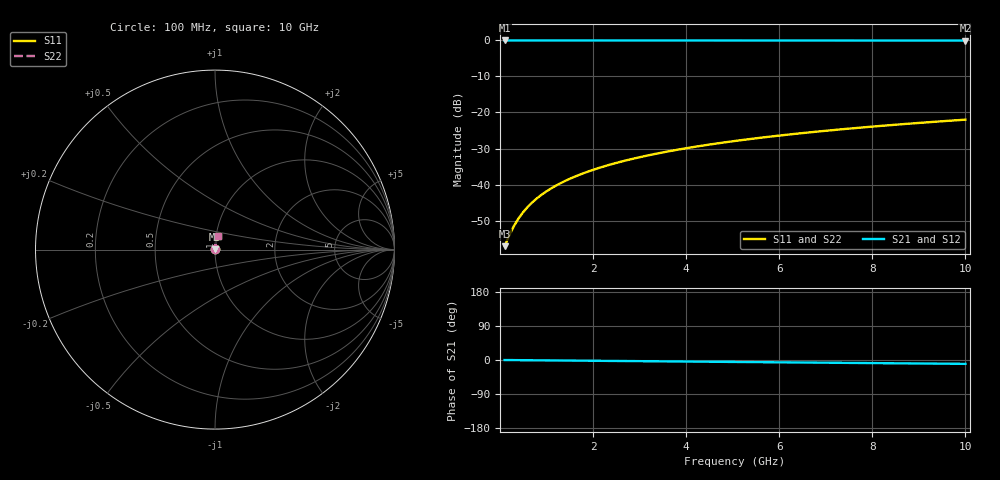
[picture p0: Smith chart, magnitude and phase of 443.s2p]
# Hz S RI R 50.00
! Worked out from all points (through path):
!   100 points, 100 MHz to 10 GHz, reference 50 ohm
!   highest |S21| = -0.01 dB at 100 MHz (marker M1); lowest = 0.0 dB at 10 GHz (marker M2)
!   group delay of S21, straight-line fit = 2.83 ps
!   lowest |S11| = -57.1 dB at 100 MHz (marker M3), VSWR 1.00, Z = 50.1 + j0.0797 ohm
!   |S11| at or under -10 dB: start of sweep to end of sweep
!   |S22| runs from -57.1 to -22.0 dB; largest |S21 - S12| = 0
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1e8  0.00115 0.000795  0.9988 -0.00177  0.9988 -0.00177  0.00115 0.000795
2e8  0.00116 0.00159  0.9988 -0.00354  0.9988 -0.00354  0.00116 0.00159
3e8  0.00117 0.00239  0.9988 -0.00532  0.9988 -0.00532  0.00117 0.00239
4e8  0.00119 0.00318  0.9988 -0.00709  0.9988 -0.00709  0.00119 0.00318
5e8  0.0012 0.00398  0.9988 -0.00886  0.9988 -0.00886  0.0012 0.00398
6e8  0.00122 0.00477  0.9988 -0.0106  0.9988 -0.0106  0.00122 0.00477
7e8  0.00124 0.00557  0.9987 -0.0124  0.9987 -0.0124  0.00124 0.00557
9e8  0.00129 0.00716  0.9987 -0.0159  0.9987 -0.0159  0.00129 0.00716
1e9  0.00132 0.00795  0.9986 -0.0177  0.9986 -0.0177  0.00132 0.00795
1.2e9  0.00139 0.00954  0.9985 -0.0213  0.9985 -0.0213  0.00139 0.00954
1.5e9  0.00151 0.0119  0.9984 -0.0266  0.9984 -0.0266  0.00151 0.0119
1.8e9  0.00165 0.0143  0.9982 -0.0319  0.9982 -0.0319  0.00165 0.0143
2.1e9  0.00182 0.0167  0.998 -0.0372  0.998 -0.0372  0.00182 0.0167
2.5e9  0.00208 0.0199  0.9976 -0.0443  0.9976 -0.0443  0.00208 0.0199
2.9e9  0.00239 0.023  0.9972 -0.0514  0.9972 -0.0514  0.00239 0.023
3.4e9  0.00284 0.027  0.9966 -0.0602  0.9966 -0.0602  0.00284 0.027
4.2e9  0.00371 0.0333  0.9954 -0.0744  0.9954 -0.0744  0.00371 0.0333
5.1e9  0.00489 0.0404  0.9938 -0.0903  0.9938 -0.0903  0.00489 0.0404
5.9e9  0.00614 0.0466  0.9921 -0.1044  0.9921 -0.1044  0.00614 0.0466
6.7e9  0.00756 0.0528  0.9902 -0.1185  0.9902 -0.1185  0.00756 0.0528
8.4e9  0.0112 0.0659  0.9853 -0.1483  0.9853 -0.1483  0.0112 0.0659
1e10  0.0153 0.0781  0.9798 -0.1762  0.9798 -0.1762  0.0153 0.0781
